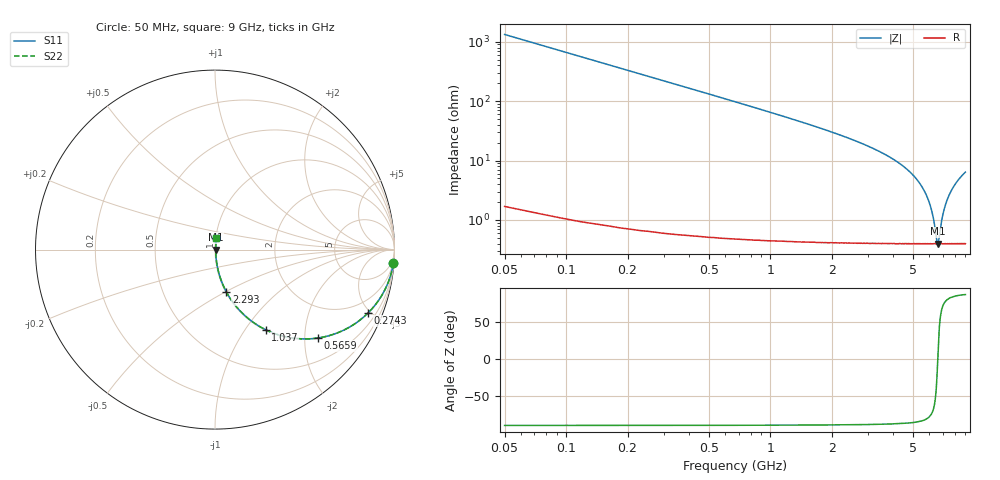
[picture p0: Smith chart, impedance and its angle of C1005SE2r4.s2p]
!	AVX	Thin	Film	Operation
!	Date:	March 2012
!	Description: Ultra-Miniature 01005 Size ACCU - P® Thin Film RF / Microwave Capacitor
!	Part Number:  C005YK2R4ABSTR
!	Serial	Measurements
#	MHz	S	db	R	50
!	S11	S21	S12	S22
!	dB	Phase	dB	Phase	dB	Phase	dB	Phase
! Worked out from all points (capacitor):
!   400 points, 50 MHz to 9 GHz, reference 50 ohm
!   read as one part in series: C = 2.4 pF near 94.86 MHz
!   lowest |Z| = 396 mohm at 6.6 GHz (marker M1)
!   series resonance near 6.59 GHz, so ESL is about 240 pH
!   S11 on the Smith chart (normalised r, x): 50 MHz: 1, -27; 274.3 MHz: 1.01, -4.83; 565.9 MHz: 1.01, -2.33; 1.037 GHz: 1.01, -1.25; 2.293 GHz: 1.01, -0.51; 9 GHz: 1.01, +0.13
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50  -0.03 -4.3  -22.48 85.6  -22.48 85.6  -0.03 -4.3
94.862  -0.09 -8.1  -16.98 81.8  -16.98 81.8  -0.09 -8.1
139.724  -0.19 -11.9  -13.71 78.0  -13.71 78.0  -0.19 -11.9
274.311  -0.70 -22.5  -8.35 67.4  -8.35 67.4  -0.70 -22.5
408.897  -1.42 -31.7  -5.59 58.1  -5.59 58.1  -1.42 -31.7
565.915  -2.42 -40.6  -3.73 49.2  -3.73 49.2  -2.42 -40.6
790.226  -3.94 -50.2  -2.29 39.5  -2.29 39.5  -3.94 -50.2
1036.967  -5.55 -57.8  -1.46 31.8  -1.46 31.8  -5.55 -57.8
1552.882  -8.57 -67.5  -0.69 21.9  -0.69 21.9  -8.57 -67.5
2293.108  -12.20 -74.9  -0.30 14.2  -0.30 14.2  -12.20 -74.9
3055.764  -15.53 -79.0  -0.16 9.6  -0.16 9.6  -15.53 -79.0
4536.216  -22.33 -82.7  -0.06 4.4  -0.06 4.4  -22.33 -82.7
5433.459  -28.16 -82.0  -0.04 2.2  -0.04 2.2  -28.16 -82.0
6016.667  -34.56 -76.7  -0.04 1.0  -0.04 1.0  -34.56 -76.7
6240.977  -38.70 -69.5  -0.04 0.6  -0.04 0.6  -38.70 -69.5
6532.581  -47.27 -24.0  -0.03 0.1  -0.03 0.1  -47.27 -24.0
6599.875  -48.03 4.2  -0.03 -0.0  -0.03 -0.0  -48.03 4.2
6869.048  -40.73 64.1  -0.04 -0.5  -0.04 -0.5  -40.73 64.1
7026.065  -37.44 72.1  -0.04 -0.7  -0.04 -0.7  -37.44 72.1
7519.549  -31.44 80.0  -0.04 -1.5  -0.04 -1.5  -31.44 80.0
8147.619  -27.34 82.3  -0.04 -2.5  -0.04 -2.5  -27.34 82.3
9000  -23.95 82.8  -0.05 -3.6  -0.05 -3.6  -23.95 82.8
